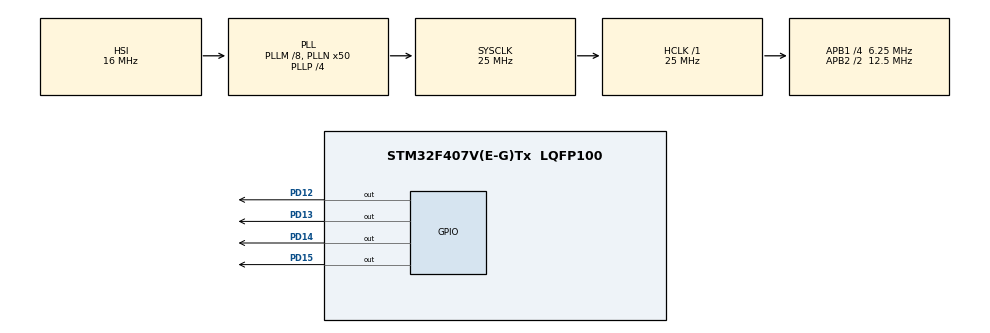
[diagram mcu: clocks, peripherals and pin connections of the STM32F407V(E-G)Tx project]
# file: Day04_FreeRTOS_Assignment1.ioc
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FREERTOS.INCLUDE_vTaskDelayUntil=1
FREERTOS.Tasks01=defaultTask,-3,128,StartDefaultTask,Default,NULL,Dynamic,NULL,NULL
FREERTOS.configUSE_NEWLIB_REENTRANT=1
Mcu.Family=STM32F4
Mcu.Name=STM32F407V(E-G)Tx
Mcu.Package=LQFP100
NVIC.PriorityGroup=NVIC_PRIORITYGROUP_4
NVIC.TIM1_UP_TIM10_IRQn=true\:15\:0\:false\:false\:true\:false\:false\:true\:true
NVIC.TimeBase=TIM1_UP_TIM10_IRQn
NVIC.TimeBaseIP=TIM1
PD12.Signal=GPIO_Output
PD13.Signal=GPIO_Output
PD14.Signal=GPIO_Output
PD15.Signal=GPIO_Output
ProjectManager.HeapSize=0x200
ProjectManager.StackSize=0x400
ProjectManager.TargetToolchain=STM32CubeIDE
RCC.48MHZClocksFreq_Value=14285714.285714285
RCC.AHBFreq_Value=25000000
RCC.APB1CLKDivider=RCC_HCLK_DIV4
RCC.APB1Freq_Value=6250000
RCC.APB1TimFreq_Value=12500000
RCC.APB2CLKDivider=RCC_HCLK_DIV2
RCC.APB2Freq_Value=12500000
RCC.APB2TimFreq_Value=25000000
RCC.CortexFreq_Value=25000000
RCC.HCLKFreq_Value=25000000
RCC.HSE_VALUE=8000000
RCC.HSI_VALUE=16000000
RCC.LSE_VALUE=32768
RCC.PLLM=8
RCC.PLLN=50
RCC.PLLP=RCC_PLLP_DIV4
RCC.PLLQ=7
RCC.SYSCLKFreq_VALUE=25000000
RCC.SYSCLKSource=RCC_SYSCLKSOURCE_PLLCLK
RCC.VCOOutputFreq_Value=100000000
VP_FREERTOS_VS_CMSIS_V1.Mode=CMSIS_V1
VP_SYS_VS_tim1.Mode=TIM1
board=STM32F407G-DISC1

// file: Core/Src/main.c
/* USER CODE BEGIN Header */
/**
  ******************************************************************************
  * @file           : main.c
  * @brief          : Main program body
  ******************************************************************************
  * @attention
  *
  * Copyright (c) 2024 STMicroelectronics.
  * All rights reserved.
  *
  * This software is licensed under terms that can be found in the LICENSE file
  * in the root directory of this software component.
  * If no LICENSE file comes with this software, it is provided AS-IS.
  *
  ******************************************************************************
  */
/* USER CODE END Header */
#include "main.h"
#include "cmsis_os.h"

osThreadId defaultTaskHandle;

void SystemClock_Config(void);
static void MX_GPIO_Init(void);
void StartDefaultTask(void const * argument);

/* USER CODE BEGIN 0 */
void vPeriodicTask1(void *vpParam)
{
	portTickType wakeupTime1 = xTaskGetTickCount();
	while(1)
	{
		HAL_GPIO_TogglePin(GPIOD, GPIO_PIN_12);
		vTaskDelayUntil(&wakeupTime1, 1000 / portTICK_RATE_MS);
	}
	vTaskDelete(NULL);
}

void vPeriodicTask2(void *vpParam)
{
	portTickType wakeupTime2 = xTaskGetTickCount();
	while(1)
	{
		HAL_GPIO_TogglePin(GPIOD, GPIO_PIN_13);
		vTaskDelayUntil(&wakeupTime2, 2000 / portTICK_RATE_MS);
	}
	vTaskDelete(NULL);
}

void vPeriodicTask3(void *vpParam)
{
	portTickType wakeupTime3 = xTaskGetTickCount();
	while(1)
	{
		HAL_GPIO_TogglePin(GPIOD, GPIO_PIN_14);
		vTaskDelayUntil(&wakeupTime3, 3000 / portTICK_RATE_MS);
	}
	vTaskDelete(NULL);
}

void vPeriodicTask4(void *vpParam)
{
	portTickType wakeupTime4 = xTaskGetTickCount();
	while(1)
	{
		HAL_GPIO_TogglePin(GPIOD, GPIO_PIN_15);
		vTaskDelayUntil(&wakeupTime4, 1000 / portTICK_RATE_MS);
	}
	vTaskDelete(NULL);
}
/* USER CODE END 0 */

int main(void)
{

  /* USER CODE BEGIN 1 */
	BaseType_t ret;
  /* USER CODE END 1 */

  /* MCU Configuration--------------------------------------------------------*/

  /* Reset of all peripherals, Initializes the Flash interface and the Systick. */
  HAL_Init();

  /* Configure the system clock */
  SystemClock_Config();

  /* Initialize all configured peripherals */
  MX_GPIO_Init();

  /* Create the thread(s) */
  /* definition and creation of defaultTask */
  osThreadDef(defaultTask, StartDefaultTask, osPriorityIdle, 0, 128);
  defaultTaskHandle = osThreadCreate(osThread(defaultTask), NULL);

  /* USER CODE BEGIN RTOS_THREADS */
  /* add threads, ... */
  ret = xTaskCreate(vPeriodicTask1, "Periodic LED1", configMINIMAL_STACK_SIZE, NULL, 5, NULL);
  if(ret != pdTRUE)
	  Error_Handler();

  ret = xTaskCreate(vPeriodicTask2, "Periodic LED2", configMINIMAL_STACK_SIZE, NULL, 4, NULL);
  if(ret != pdTRUE)
	  Error_Handler();

  ret = xTaskCreate(vPeriodicTask3, "Periodic LED3", configMINIMAL_STACK_SIZE, NULL, 3, NULL);
  if(ret != pdTRUE)
	  Error_Handler();

  ret = xTaskCreate(vPeriodicTask4, "Periodic LED4", configMINIMAL_STACK_SIZE, NULL, 2, NULL);
  if(ret != pdTRUE)
	  Error_Handler();
  /* USER CODE END RTOS_THREADS */

  /* Start scheduler */
  osKernelStart();

  /* We should never get here as control is now taken by the scheduler */

  /* Infinite loop */
  while (1)
  {

  }
}

void SystemClock_Config(void)
{
  RCC_OscInitTypeDef RCC_OscInitStruct = {0};
  RCC_ClkInitTypeDef RCC_ClkInitStruct = {0};

  /** Configure the main internal regulator output voltage
  */
  __HAL_RCC_PWR_CLK_ENABLE();
  __HAL_PWR_VOLTAGESCALING_CONFIG(PWR_REGULATOR_VOLTAGE_SCALE1);

  /** Initializes the RCC Oscillators according to the specified parameters
  * in the RCC_OscInitTypeDef structure.
  */
  RCC_OscInitStruct.OscillatorType = RCC_OSCILLATORTYPE_HSI;
  RCC_OscInitStruct.HSIState = RCC_HSI_ON;
  RCC_OscInitStruct.HSICalibrationValue = RCC_HSICALIBRATION_DEFAULT;
  RCC_OscInitStruct.PLL.PLLState = RCC_PLL_ON;
  RCC_OscInitStruct.PLL.PLLSource = RCC_PLLSOURCE_HSI;
  RCC_OscInitStruct.PLL.PLLM = 8;
  RCC_OscInitStruct.PLL.PLLN = 50;
  RCC_OscInitStruct.PLL.PLLP = RCC_PLLP_DIV4;
  RCC_OscInitStruct.PLL.PLLQ = 7;
  if (HAL_RCC_OscConfig(&RCC_OscInitStruct) != HAL_OK)
  {
    Error_Handler();
  }

  /** Initializes the CPU, AHB and APB buses clocks
  */
  RCC_ClkInitStruct.ClockType = RCC_CLOCKTYPE_HCLK|RCC_CLOCKTYPE_SYSCLK
                              |RCC_CLOCKTYPE_PCLK1|RCC_CLOCKTYPE_PCLK2;
  RCC_ClkInitStruct.SYSCLKSource = RCC_SYSCLKSOURCE_PLLCLK;
  RCC_ClkInitStruct.AHBCLKDivider = RCC_SYSCLK_DIV1;
  RCC_ClkInitStruct.APB1CLKDivider = RCC_HCLK_DIV4;
  RCC_ClkInitStruct.APB2CLKDivider = RCC_HCLK_DIV2;

  if (HAL_RCC_ClockConfig(&RCC_ClkInitStruct, FLASH_LATENCY_0) != HAL_OK)
  {
    Error_Handler();
  }
}

static void MX_GPIO_Init(void)
{
  GPIO_InitTypeDef GPIO_InitStruct = {0};

  /* GPIO Ports Clock Enable */
  __HAL_RCC_GPIOD_CLK_ENABLE();

  /*Configure GPIO pin Output Level */
  HAL_GPIO_WritePin(GPIOD, GPIO_PIN_12|GPIO_PIN_13|GPIO_PIN_14|GPIO_PIN_15, GPIO_PIN_RESET);

  /*Configure GPIO pins : PD12 PD13 PD14 PD15 */
  GPIO_InitStruct.Pin = GPIO_PIN_12|GPIO_PIN_13|GPIO_PIN_14|GPIO_PIN_15;
  GPIO_InitStruct.Mode = GPIO_MODE_OUTPUT_PP;
  GPIO_InitStruct.Pull = GPIO_NOPULL;
  GPIO_InitStruct.Speed = GPIO_SPEED_FREQ_LOW;
  HAL_GPIO_Init(GPIOD, &GPIO_InitStruct);

}

void StartDefaultTask(void const * argument)
{
  for(;;)
  {
    osDelay(1);
  }
}

void HAL_TIM_PeriodElapsedCallback(TIM_HandleTypeDef *htim)
{
  if (htim->Instance == TIM1) {
    HAL_IncTick();
  }
}

void Error_Handler(void)
{
  __disable_irq();
  while (1)
  {
  }
}
